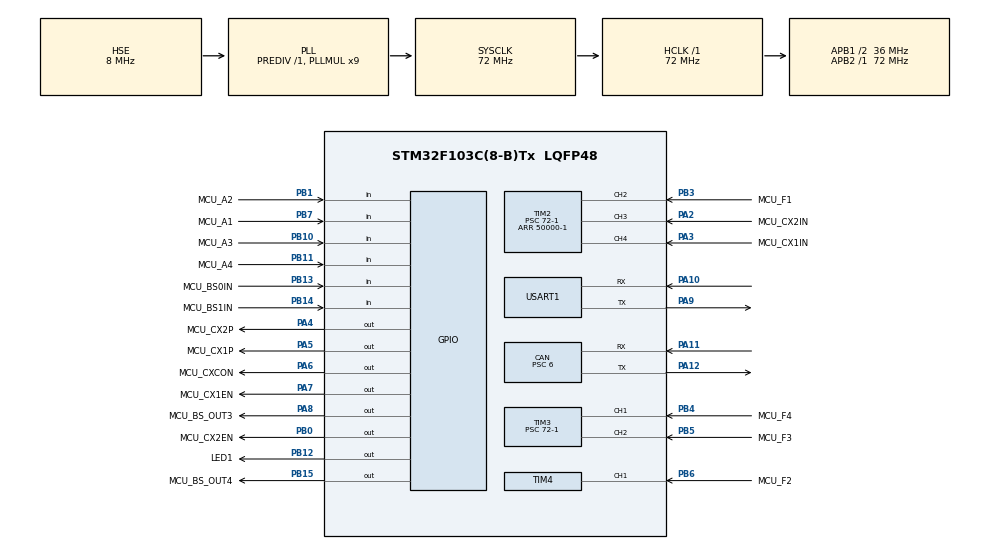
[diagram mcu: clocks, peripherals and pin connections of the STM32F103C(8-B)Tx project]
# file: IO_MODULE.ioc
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CAN.BS1=CAN_BS1_8TQ
CAN.BS2=CAN_BS2_3TQ
CAN.CalculateBaudRate=499999
CAN.CalculateTimeBit=2000
CAN.CalculateTimeQuantum=166.66666666666669
CAN.Prescaler=6
CAN.RFLM=DISABLE
CAN.SJW=CAN_SJW_3TQ
FREERTOS.Tasks01=CX1ENTask,24,128,StartCX1ENTask,Default,NULL,Dynamic,NULL,NULL;LEDTask,8,128,StartLEDTask,Default,NULL,Dynamic,NULL,NULL;CX2ENTask,8,128,StartCX2ENTask,Default,NULL,Dynamic,NULL,NULL;Term_IC,8,128,StartTerm_IC,Default,NULL,Dynamic,NULL,NULL;Cpu_IC,8,128,StartCpu_IC,Default,NULL,Dynamic,NULL,NULL
FREERTOS.configTOTAL_HEAP_SIZE=6144
Mcu.Family=STM32F1
Mcu.Name=STM32F103C(8-B)Tx
Mcu.Package=LQFP48
NVIC.PriorityGroup=NVIC_PRIORITYGROUP_4
NVIC.TIM1_UP_IRQn=true\:15\:0\:false\:false\:true\:false\:false\:true\:true
NVIC.TIM2_IRQn=true\:5\:0\:false\:false\:true\:true\:true\:true\:true
NVIC.TIM3_IRQn=true\:5\:0\:false\:false\:true\:true\:true\:true\:true
NVIC.TIM4_IRQn=true\:5\:0\:false\:false\:true\:true\:true\:true\:true
NVIC.TimeBase=TIM1_UP_IRQn
NVIC.TimeBaseIP=TIM1
NVIC.USART1_IRQn=true\:5\:0\:false\:false\:true\:true\:true\:true\:true
NVIC.USB_LP_CAN1_RX0_IRQn=true\:5\:0\:false\:false\:true\:true\:true\:true\:true
PA10.Mode=Asynchronous
PA10.Signal=USART1_RX
PA11.Mode=CAN_Activate
PA11.Signal=CAN_RX
PA12.Mode=CAN_Activate
PA12.Signal=CAN_TX
PA13.Mode=Serial_Wire
PA13.Signal=SYS_JTMS-SWDIO
PA14.Mode=Serial_Wire
PA14.Signal=SYS_JTCK-SWCLK
PA2.GPIO_Label=MCU_CX2IN
PA2.Signal=S_TIM2_CH3
PA3.GPIO_Label=MCU_CX1IN
PA3.Signal=S_TIM2_CH4
PA4.GPIO_Label=MCU_CX2P
PA4.GPIO_Speed=GPIO_SPEED_FREQ_HIGH
PA4.Signal=GPIO_Output
PA5.GPIO_Label=MCU_CX1P
PA5.GPIO_Speed=GPIO_SPEED_FREQ_HIGH
PA5.Signal=GPIO_Output
PA6.GPIO_Label=MCU_CXCON
PA6.GPIO_Speed=GPIO_SPEED_FREQ_HIGH
PA6.Signal=GPIO_Output
PA7.GPIO_Label=MCU_CX1EN
PA7.GPIO_Speed=GPIO_SPEED_FREQ_HIGH
PA7.Signal=GPIO_Output
PA8.GPIO_Label=MCU_BS_OUT3
PA8.GPIO_Speed=GPIO_SPEED_FREQ_HIGH
PA8.PinState=GPIO_PIN_RESET
PA8.Signal=GPIO_Output
PA9.Mode=Asynchronous
PA9.Signal=USART1_TX
PB0.GPIO_Label=MCU_CX2EN
PB0.GPIO_Speed=GPIO_SPEED_FREQ_HIGH
PB0.Signal=GPIO_Output
PB1.GPIO_Label=MCU_A2
PB1.Signal=GPIO_Input
PB10.GPIO_Label=MCU_A3
PB10.Signal=GPIO_Input
PB11.GPIO_Label=MCU_A4
PB11.Signal=GPIO_Input
PB12.GPIO_Label=LED1
PB12.GPIO_Speed=GPIO_SPEED_FREQ_HIGH
PB12.Signal=GPIO_Output
PB13.GPIO_Label=MCU_BS0IN
PB13.Signal=GPIO_Input
PB14.GPIO_Label=MCU_BS1IN
PB14.Signal=GPIO_Input
PB15.GPIO_Label=MCU_BS_OUT4
PB15.GPIO_Speed=GPIO_SPEED_FREQ_HIGH
PB15.PinState=GPIO_PIN_RESET
PB15.Signal=GPIO_Output
PB3.GPIO_Label=MCU_F1
PB3.Signal=S_TIM2_CH2
PB4.GPIO_Label=MCU_F4
PB4.Signal=S_TIM3_CH1
PB5.GPIO_Label=MCU_F3
PB5.Signal=S_TIM3_CH2
PB6.GPIO_Label=MCU_F2
PB6.Signal=S_TIM4_CH1
PB7.GPIO_Label=MCU_A1
PB7.Signal=GPIO_Input
PD0-OSC_IN.Mode=HSE-External-Oscillator
PD0-OSC_IN.Signal=RCC_OSC_IN
PD1-OSC_OUT.Mode=HSE-External-Oscillator
PD1-OSC_OUT.Signal=RCC_OSC_OUT
ProjectManager.HeapSize=0x200
ProjectManager.StackSize=0x400
ProjectManager.TargetToolchain=MDK-ARM V5.32
RCC.AHBFreq_Value=72000000
RCC.APB1CLKDivider=RCC_HCLK_DIV2
RCC.APB1Freq_Value=36000000
RCC.APB1TimFreq_Value=72000000
RCC.APB2Freq_Value=72000000
RCC.APB2TimFreq_Value=72000000
RCC.HCLKFreq_Value=72000000
RCC.PLLMUL=RCC_PLL_MUL9
RCC.PLLSourceVirtual=RCC_PLLSOURCE_HSE
RCC.SYSCLKFreq_VALUE=72000000
RCC.SYSCLKSource=RCC_SYSCLKSOURCE_PLLCLK
RCC.USBFreq_Value=72000000
SH.S_TIM2_CH2.0=TIM2_CH2,Input_Capture2_from_TI2
SH.S_TIM2_CH3.0=TIM2_CH3,Input_Capture3_from_TI3
SH.S_TIM2_CH4.0=TIM2_CH4,Input_Capture4_from_TI4
SH.S_TIM3_CH1.0=TIM3_CH1,Input_Capture1_from_TI1
SH.S_TIM3_CH2.0=TIM3_CH2,Input_Capture2_from_TI2
SH.S_TIM4_CH1.0=TIM4_CH1,Input_Capture1_from_TI1
TIM2.AutoReloadPreload=TIM_AUTORELOAD_PRELOAD_ENABLE
TIM2.Channel-Input_Capture2_from_TI2=TIM_CHANNEL_2
TIM2.Channel-Input_Capture3_from_TI3=TIM_CHANNEL_3
TIM2.Channel-Input_Capture4_from_TI4=TIM_CHANNEL_4
TIM2.Period=50000-1
TIM2.Prescaler=72-1
TIM3.AutoReloadPreload=TIM_AUTORELOAD_PRELOAD_ENABLE
TIM3.Channel-Input_Capture1_from_TI1=TIM_CHANNEL_1
TIM3.Channel-Input_Capture2_from_TI2=TIM_CHANNEL_2
TIM3.Period=10000-1
TIM3.Prescaler=72-1
TIM4.AutoReloadPreload=TIM_AUTORELOAD_PRELOAD_ENABLE
TIM4.Channel-Input_Capture1_from_TI1=TIM_CHANNEL_1
TIM4.Period=10000-1
TIM4.Prescaler=72-1
USART1.VirtualMode=VM_ASYNC
VP_FREERTOS_VS_CMSIS_V2.Mode=CMSIS_V2
VP_SYS_VS_tim1.Mode=TIM1
VP_TIM2_VS_ClockSourceINT.Mode=Internal
VP_TIM3_VS_ClockSourceINT.Mode=Internal
VP_TIM4_VS_ClockSourceINT.Mode=Internal
board=custom

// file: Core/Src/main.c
/* USER CODE BEGIN Header */
/**
  ******************************************************************************
  * @file           : main.c
  * @brief          : Main program body
  ******************************************************************************
  * @attention
  *
  * Copyright (c) 2024 STMicroelectronics.
  * All rights reserved.
  *
  * This software is licensed under terms that can be found in the LICENSE file
  * in the root directory of this software component.
  * If no LICENSE file comes with this software, it is provided AS-IS.
  *
  ******************************************************************************
  */
/* USER CODE END Header */
#include "main.h"
#include "cmsis_os.h"
#include "can.h"
#include "tim.h"
#include "usart.h"
#include "gpio.h"

/* USER CODE BEGIN Includes */
#include "stdio.h"
#include "stdlib.h"
#include "math.h"
#include "BS.h"
#include "CXxEN.h"
#include "CXxIN.h"
#include "input.h"
/* USER CODE END Includes */

/* USER CODE BEGIN PTD */
extern CAN_TxHeaderTypeDef   TxHeader;
extern CAN_RxHeaderTypeDef   RxHeader;
extern uint8_t               TxData[8];
extern uint8_t               RxData[8];
extern uint32_t              TxMailbox;

extern uint32_t capture_Buf[3] ;   //存放计数值
extern uint8_t capture_Cnt ;    //状态标志位
extern uint32_t high_time;   //高电平时间

uint8_t overflow_cnt=0;   //是否溢出

#define CXCON_ON 1           //电子开关闭合
#define CXCON_OFF 0          //电子开关断开
#define CX1EN_ON  0          //查询脉冲使能
#define CX1EN_OFF  1         //查询脉冲失能
#define CX2EN_ON  0          //查询脉冲使能
#define CX2EN_OFF  1         //查询脉冲失能
/* USER CODE END PTD */

void SystemClock_Config(void);
void MX_FREERTOS_Init(void);

int main(void)
{

  /* MCU Configuration--------------------------------------------------------*/

  /* Reset of all peripherals, Initializes the Flash interface and the Systick. */
  HAL_Init();

  /* Configure the system clock */
  SystemClock_Config();

  /* Initialize all configured peripherals */
  MX_GPIO_Init();
  MX_CAN_Init();
  MX_TIM2_Init();
  MX_TIM3_Init();
  MX_TIM4_Init();
  MX_USART1_UART_Init();
  /* USER CODE BEGIN 2 */
	//HAL_TIM_PWM_Start(&htim3,TIM_CHANNEL_3);
	Set_MCU_CXCON_ON_OFF(CXCON_OFF);         //断开电子开关
	Set_MCU_CX1EN_ON_OFF(CX1EN_OFF);				 //cx1发送脉冲失能
	Set_MCU_CX2EN_ON_OFF(CX2EN_OFF);					//cx2发送脉冲失能
	//HAL_GPIO_WritePin(GPIOA,GPIO_PIN_6,GPIO_PIN_SET);              //电子开关(高电平导通，低电平断开）

  /* USER CODE END 2 */

  /* Init scheduler */
  osKernelInitialize();

  /* Call init function for freertos objects (in cmsis_os2.c) */
  MX_FREERTOS_Init();

  /* Start scheduler */
  osKernelStart();

  /* We should never get here as control is now taken by the scheduler */

  /* Infinite loop */
  while (1)
  {

    /* USER CODE BEGIN 3 */
	//	HAL_GPIO_WritePin(GPIOA,GPIO_PIN_10,GPIO_PIN_SET);        //MCU_OUT1
		//HAL_GPIO_TogglePin(GPIOA,GPIO_PIN_6);

		HAL_GPIO_TogglePin(GPIOB,LED1_Pin);
		HAL_Delay(500);

//	TxData[0] = 0x11;    //CAN收发正常
//	TxData[1] = 0xAD;
//	TxData[2] = 0x33;
//	TxData[3] = 0x55;
//	TxData[4] = 0x77;
//	TxData[5] = 0x44;
//	TxData[6] = 0x88;
//	TxData[7] = 0x99;
//
//	TxHeader.StdId = 0x321;
//  TxHeader.ExtId = 0x00;
//  TxHeader.RTR = CAN_RTR_DATA;
//  TxHeader.IDE = CAN_ID_STD;
//  TxHeader.DLC = 8;
//
//        /* Start the Transmission process */
//	if (HAL_CAN_AddTxMessage(&hcan, &TxHeader, TxData, &TxMailbox) != HAL_OK)
//        {
//          /* Transmission request Error */
//          Error_Handler();
//        }
//        HAL_Delay(10);
//			if(HAL_CAN_GetRxMessage(&hcan, CAN_RX_FIFO0,&RxHeader, RxData)!=HAL_OK){
//					Error_Handler();
//				}
//
//	HAL_GPIO_WritePin(GPIOA,GPIO_PIN_4,GPIO_PIN_SET);           //cx2p使能
//	HAL_Delay(1000);

//	HAL_GPIO_WritePin(GPIOA,GPIO_PIN_4,GPIO_PIN_RESET);

    /* USER CODE END WHILE */

    /* USER CODE BEGIN 3 */

		TERM_SIGNAL_IC();            //终端查询信号捕获
		CPU_SIGNAL_IC();
		MCU_F1_freq_get();
		MCU_F2_freq_get();
		MCU_F3_freq_get();
		MCU_F4_freq_get();

}
  /* USER CODE END 3 */
}

void SystemClock_Config(void)
{
  RCC_OscInitTypeDef RCC_OscInitStruct = {0};
  RCC_ClkInitTypeDef RCC_ClkInitStruct = {0};

  /** Initializes the RCC Oscillators according to the specified parameters
  * in the RCC_OscInitTypeDef structure.
  */
  RCC_OscInitStruct.OscillatorType = RCC_OSCILLATORTYPE_HSE;
  RCC_OscInitStruct.HSEState = RCC_HSE_ON;
  RCC_OscInitStruct.HSEPredivValue = RCC_HSE_PREDIV_DIV1;
  RCC_OscInitStruct.HSIState = RCC_HSI_ON;
  RCC_OscInitStruct.PLL.PLLState = RCC_PLL_ON;
  RCC_OscInitStruct.PLL.PLLSource = RCC_PLLSOURCE_HSE;
  RCC_OscInitStruct.PLL.PLLMUL = RCC_PLL_MUL9;
  if (HAL_RCC_OscConfig(&RCC_OscInitStruct) != HAL_OK)
  {
    Error_Handler();
  }

  /** Initializes the CPU, AHB and APB buses clocks
  */
  RCC_ClkInitStruct.ClockType = RCC_CLOCKTYPE_HCLK|RCC_CLOCKTYPE_SYSCLK
                              |RCC_CLOCKTYPE_PCLK1|RCC_CLOCKTYPE_PCLK2;
  RCC_ClkInitStruct.SYSCLKSource = RCC_SYSCLKSOURCE_PLLCLK;
  RCC_ClkInitStruct.AHBCLKDivider = RCC_SYSCLK_DIV1;
  RCC_ClkInitStruct.APB1CLKDivider = RCC_HCLK_DIV2;
  RCC_ClkInitStruct.APB2CLKDivider = RCC_HCLK_DIV1;

  if (HAL_RCC_ClockConfig(&RCC_ClkInitStruct, FLASH_LATENCY_2) != HAL_OK)
  {
    Error_Handler();
  }
}

/* USER CODE BEGIN 4 */

struct __FILE
{
	int handle;
};

FILE __stdout;
void _sys_exit(int x){
x=x;
}
int fputc(int ch,FILE *f){
		HAL_UART_Transmit(&huart1,(uint8_t *)&ch,1,0xFFFF);
	return ch;
}
//加入以下代码,支持printf函数,而不需要选择use MicroLIB
//#if 1
//#pragma import(__use_no_semihosting)
////标准库需要的支持函数
//struct __FILE
//{
//	int handle;

//};

//FILE __stdout;
////定义_sys_exit()以避免使用半主机模式
//void _sys_exit(int x)
//{
//	x = x;
//}
////重定义fputc函数
//int fputc(int ch, FILE *f)
//{
//	while((USART1->SR&0X40)==0);//循环发送,直到发送完毕
//    USART1->DR = (uint8_t) ch;
//	return ch;
//}
//#endif
/* USER CODE END 4 */

void HAL_TIM_PeriodElapsedCallback(TIM_HandleTypeDef *htim)
{
  if (htim->Instance == TIM1) {
    HAL_IncTick();
  }
}

void Error_Handler(void)
{
  __disable_irq();
  while (1)
  {
  }
}

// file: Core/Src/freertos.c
/* USER CODE BEGIN Header */
/**
  ******************************************************************************
  * File Name          : freertos.c
  * Description        : Code for freertos applications
  ******************************************************************************
  * @attention
  *
  * Copyright (c) 2024 STMicroelectronics.
  * All rights reserved.
  *
  * This software is licensed under terms that can be found in the LICENSE file
  * in the root directory of this software component.
  * If no LICENSE file comes with this software, it is provided AS-IS.
  *
  ******************************************************************************
  */
/* USER CODE END Header */

#include "FreeRTOS.h"
#include "task.h"
#include "main.h"
#include "cmsis_os.h"

/* USER CODE BEGIN Includes */
#include "stdio.h"
#include "stdlib.h"
#include "math.h"
#include "BS.h"
#include "CXxEN.h"
#include "CXxIN.h"
#include "input.h"
/* USER CODE END Includes */

/* Definitions for CX1ENTask */
osThreadId_t CX1ENTaskHandle;
const osThreadAttr_t CX1ENTask_attributes = {
  .name = "CX1ENTask",
  .stack_size = 128 * 4,
  .priority = (osPriority_t) osPriorityNormal,
};
/* Definitions for LEDTask */
osThreadId_t LEDTaskHandle;
const osThreadAttr_t LEDTask_attributes = {
  .name = "LEDTask",
  .stack_size = 128 * 4,
  .priority = (osPriority_t) osPriorityLow,
};
/* Definitions for CX2ENTask */
osThreadId_t CX2ENTaskHandle;
const osThreadAttr_t CX2ENTask_attributes = {
  .name = "CX2ENTask",
  .stack_size = 128 * 4,
  .priority = (osPriority_t) osPriorityLow,
};
/* Definitions for Term_IC */
osThreadId_t Term_ICHandle;
const osThreadAttr_t Term_IC_attributes = {
  .name = "Term_IC",
  .stack_size = 128 * 4,
  .priority = (osPriority_t) osPriorityLow,
};
/* Definitions for Cpu_IC */
osThreadId_t Cpu_ICHandle;
const osThreadAttr_t Cpu_IC_attributes = {
  .name = "Cpu_IC",
  .stack_size = 128 * 4,
  .priority = (osPriority_t) osPriorityLow,
};

void StartCX1ENTask(void *argument);
void StartLEDTask(void *argument);
void StartCX2ENTask(void *argument);
void StartTerm_IC(void *argument);
void StartCpu_IC(void *argument);

void MX_FREERTOS_Init(void); /* (MISRA C 2004 rule 8.1) */

void MX_FREERTOS_Init(void) {

  /* Create the thread(s) */
  /* creation of CX1ENTask */
  CX1ENTaskHandle = osThreadNew(StartCX1ENTask, NULL, &CX1ENTask_attributes);

  /* creation of LEDTask */
  LEDTaskHandle = osThreadNew(StartLEDTask, NULL, &LEDTask_attributes);

  /* creation of CX2ENTask */
  CX2ENTaskHandle = osThreadNew(StartCX2ENTask, NULL, &CX2ENTask_attributes);

  /* creation of Term_IC */
  Term_ICHandle = osThreadNew(StartTerm_IC, NULL, &Term_IC_attributes);

  /* creation of Cpu_IC */
  Cpu_ICHandle = osThreadNew(StartCpu_IC, NULL, &Cpu_IC_attributes);

}

void StartCX1ENTask(void *argument)
{
  /* USER CODE BEGIN StartCX1ENTask */
  /* Infinite loop */
  for(;;)
  {
		HAL_GPIO_TogglePin(MCU_CX1P_GPIO_Port,MCU_CX1P_Pin);
    osDelay(5);
  }
  /* USER CODE END StartCX1ENTask */
}

void StartLEDTask(void *argument)
{
  /* USER CODE BEGIN StartLEDTask */
  /* Infinite loop */
  for(;;)
  {
		HAL_GPIO_TogglePin(LED1_GPIO_Port,LED1_Pin);
		osDelay(500);

  }
  /* USER CODE END StartLEDTask */
}

void StartCX2ENTask(void *argument)
{
  /* USER CODE BEGIN StartCX2ENTask */
  /* Infinite loop */
  for(;;)
  {
		HAL_GPIO_TogglePin(MCU_CX2P_GPIO_Port,MCU_CX2P_Pin);
    osDelay(10);
  }
  /* USER CODE END StartCX2ENTask */
}

void StartTerm_IC(void *argument)
{
  /* USER CODE BEGIN StartTerm_IC */
  /* Infinite loop */
  for(;;)
  {
		TERM_SIGNAL_IC();
    osDelay(10);
  }
  /* USER CODE END StartTerm_IC */
}

void StartCpu_IC(void *argument)
{
  /* USER CODE BEGIN StartCpu_IC */
  /* Infinite loop */
  for(;;)
  {
		CPU_SIGNAL_IC();
    osDelay(10);
  }
  /* USER CODE END StartCpu_IC */
}
